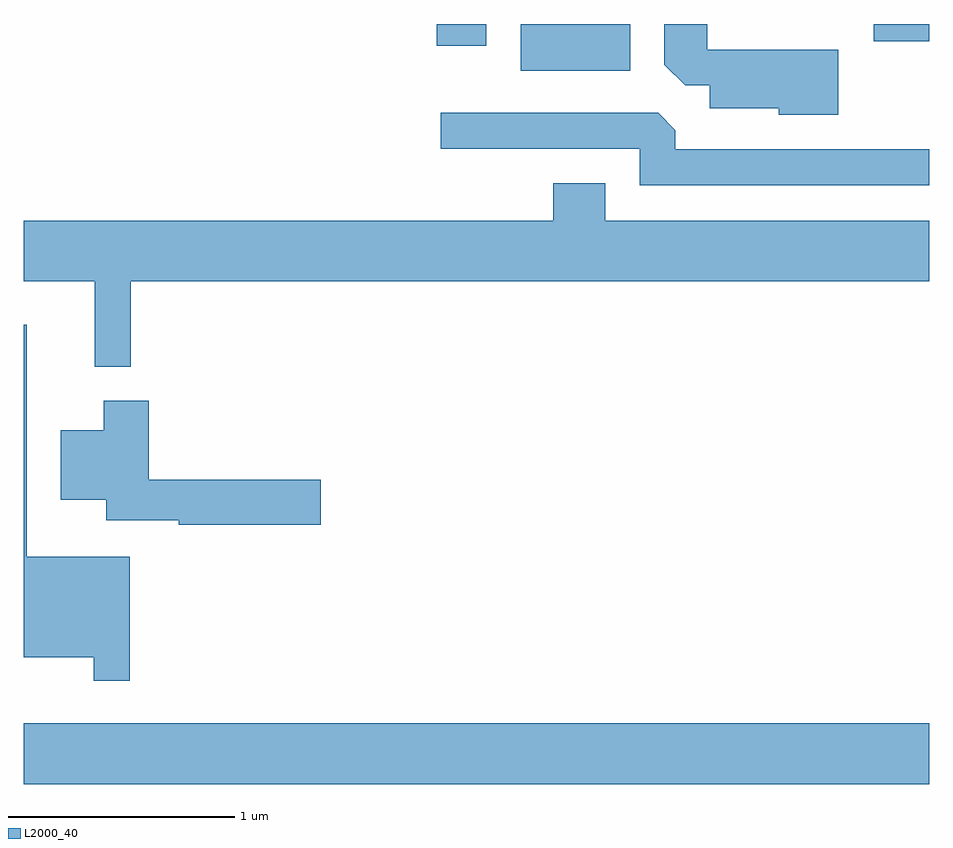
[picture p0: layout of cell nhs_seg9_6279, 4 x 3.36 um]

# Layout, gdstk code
import gdstk
lib = gdstk.Library(unit=1e-6, precision=1e-09)
def R(c, l, rs):  # rectangles x0, y0, x1, y1
    for r in rs: c.add(gdstk.rectangle(r[:2], r[2:], *l))
def P(c, l, *ps):  # polygons
    for p in ps: c.add(gdstk.Polygon(p, *l))
L2000_40 = (2000, 40)

nhs_seg9_6279 = lib.new_cell('nhs_seg9_6279')
R(nhs_seg9_6279, L2000_40, [(369.611,2065.076,373.611,2065.344), (371.806,2068.226,372.289,2068.432), (371.436,2068.336,371.654,2068.432), (373.366,2068.356,373.611,2068.432)])
P(nhs_seg9_6279, L2000_40, [(373.209,2068.319),(372.629,2068.319),(372.629,2068.432),(372.441,2068.432),(372.441,2068.251),(372.532,2068.161),(372.641,2068.161),(372.641,2068.061),(372.946,2068.061),(372.946,2068.031),(373.209,2068.031)],
  [(373.611,2067.879),(372.489,2067.879),(372.489,2067.963),(372.414,2068.039),(371.453,2068.039),(371.453,2067.881),(372.331,2067.881),(372.331,2067.721),(373.611,2067.721)],
  [(369.611,2067.296),(369.926,2067.296),(369.926,2066.918),(370.084,2066.918),(370.084,2067.296),(373.611,2067.296),(373.611,2067.564),(372.179,2067.564),(372.179,2067.729),(371.951,2067.729),(371.951,2067.564),(369.611,2067.564)],
  [(370.079,2066.079),(369.624,2066.079),(369.624,2067.103),(369.611,2067.103),(369.611,2065.636),(369.921,2065.636),(369.921,2065.533),(370.079,2065.533)],
  [(370.924,2066.419),(370.164,2066.419),(370.164,2066.769),(369.966,2066.769),(369.966,2066.639),(369.776,2066.639),(369.776,2066.331),(369.976,2066.331),(369.976,2066.241),(370.296,2066.241),(370.296,2066.221),(370.924,2066.221)])

lib.write_gds('nhs_seg9_6279.gds')
